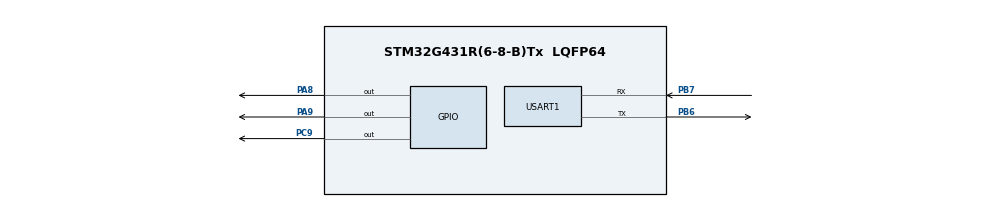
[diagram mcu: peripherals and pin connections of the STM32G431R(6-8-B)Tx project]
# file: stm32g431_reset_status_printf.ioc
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Mcu.Family=STM32G4
Mcu.Name=STM32G431R(6-8-B)Tx
Mcu.Package=LQFP64
NVIC.PriorityGroup=NVIC_PRIORITYGROUP_4
PA13.Mode=Trace_Asynchronous_SW
PA13.Signal=SYS_JTMS-SWDIO
PA14.Mode=Trace_Asynchronous_SW
PA14.Signal=SYS_JTCK-SWCLK
PA8.Signal=GPIO_Output
PA9.Signal=GPIO_Output
PB3.Mode=Trace_Asynchronous_SW
PB3.Signal=SYS_JTDO-SWO
PB6.Mode=Asynchronous
PB6.Signal=USART1_TX
PB7.Mode=Asynchronous
PB7.Signal=USART1_RX
PC9.Signal=GPIO_Output
PF0-OSC_IN.Mode=HSE-External-Oscillator
PF0-OSC_IN.Signal=RCC_OSC_IN
PF1-OSC_OUT.Mode=HSE-External-Oscillator
PF1-OSC_OUT.Signal=RCC_OSC_OUT
ProjectManager.HeapSize=0x200
ProjectManager.StackSize=0x400
ProjectManager.TargetToolchain=MDK-ARM V5
RCC.ADC12Freq_Value=170000000
RCC.AHBFreq_Value=170000000
RCC.APB1Freq_Value=170000000
RCC.APB1TimFreq_Value=170000000
RCC.APB2Freq_Value=170000000
RCC.APB2TimFreq_Value=170000000
RCC.CortexFreq_Value=170000000
RCC.EXTERNAL_CLOCK_VALUE=12288000
RCC.HCLKFreq_Value=170000000
RCC.HSE_VALUE=8000000
RCC.HSI48_VALUE=48000000
RCC.HSI_VALUE=16000000
RCC.LSE_VALUE=32768
RCC.PLLM=RCC_PLLM_DIV2
RCC.PLLN=85
RCC.PLLSourceVirtual=RCC_PLLSOURCE_HSE
RCC.SYSCLKFreq_VALUE=170000000
RCC.SYSCLKSource=RCC_SYSCLKSOURCE_PLLCLK
RCC.USBFreq_Value=170000000
RCC.VCOOutputFreq_Value=340000000
USART1.VirtualMode-Asynchronous=VM_ASYNC
VP_SYS_VS_DBSignals.Mode=DisableDeadBatterySignals
board=custom

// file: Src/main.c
/* USER CODE BEGIN Header */
/**
  ******************************************************************************
  * @file           : main.c
  * @brief          : Main program body
  ******************************************************************************
  * @attention
  *
  * <h2><center>&copy; Copyright (c) 2020 STMicroelectronics.
  * All rights reserved.</center></h2>
  *
  * This software component is licensed by ST under BSD 3-Clause license,
  * the "License"; You may not use this file except in compliance with the
  * License. You may obtain a copy of the License at:
  *                        opensource.org/licenses/BSD-3-Clause
  *
  ******************************************************************************
  */
/* USER CODE END Header */

#include "main.h"
#include "usart.h"
#include "gpio.h"

/* USER CODE BEGIN Includes */
#include <stdio.h>
/* USER CODE END Includes */

void SystemClock_Config(void);

/* USER CODE BEGIN 0 */
#define PUTCHAR_PROTOTYPE int fputc(int ch, FILE *f)
PUTCHAR_PROTOTYPE
{
  /* Place your implementation of fputc here */
  /* e.g. write a character to the USART1 and Loop until the end of transmission */
	while (!LL_USART_IsActiveFlag_TXE(USART1)){};

	LL_USART_TransmitData8(USART1, (char)ch);

  return ch;
}

void Print_ResetStatus(void)
{
	if(LL_RCC_IsActiveFlag_LPWRRST() != 0x00u)
		printf("*** Reset Request Flag :  LPWRRST\r\n");

	if(LL_RCC_IsActiveFlag_WWDGRST() != 0x00u)
		printf("*** Reset Request Flag :  WWDGRST\r\n");

	if (LL_RCC_IsActiveFlag_IWDGRST() != 0x00u)
		printf("*** Reset Request Flag :  IWDGRST\r\n");

	if(LL_RCC_IsActiveFlag_SFTRST() != 0x00u)
		printf("*** Reset Request Flag :  SFTRST\r\n");

	if(LL_RCC_IsActiveFlag_LPWRRST() != 0x00u)
		printf("*** Reset Request Flag :  LPWRRST\r\n");

	if(LL_RCC_IsActiveFlag_BORRST() != 0x00u)
		printf("*** Reset Request Flag :  BORRST\r\n");

	if(LL_RCC_IsActiveFlag_PINRST() != 0x00u)
		printf("*** Reset Request Flag :  PINRST\r\n");

	if(LL_RCC_IsActiveFlag_OBLRST() != 0x00u)
		printf("*** Reset Request Flag :  OBLRST\r\n");
}
/* USER CODE END 0 */

int main(void)
{

  /* MCU Configuration--------------------------------------------------------*/

  /* Reset of all peripherals, Initializes the Flash interface and the Systick. */

  LL_APB2_GRP1_EnableClock(LL_APB2_GRP1_PERIPH_SYSCFG);
  LL_APB1_GRP1_EnableClock(LL_APB1_GRP1_PERIPH_PWR);

  NVIC_SetPriorityGrouping(NVIC_PRIORITYGROUP_4);

  /* System interrupt init*/

  /** Disable the internal Pull-Up in Dead Battery pins of UCPD peripheral
  */
  LL_PWR_DisableDeadBatteryPD();

  /* Configure the system clock */
  SystemClock_Config();

  /* Initialize all configured peripherals */
  MX_GPIO_Init();
  MX_USART1_UART_Init();
  /* USER CODE BEGIN 2 */
	while ((!(LL_USART_IsActiveFlag_TEACK(USART1))) || (!(LL_USART_IsActiveFlag_REACK(USART1))))
  {
  }
	LL_mDelay(1000);
	printf("\r\n");
	printf("\r\n");
	printf("\r\n");
	printf("******** System start ********\r\n");

//__HAL_RCC_CLEAR_RESET_FLAGS();
	LL_GPIO_SetOutputPin(GPIOC, LL_GPIO_PIN_9);	/*blue*/
	LL_GPIO_SetOutputPin(GPIOA, LL_GPIO_PIN_8);	/*green*/
	LL_GPIO_SetOutputPin(GPIOA, LL_GPIO_PIN_9);  /*red*/
  /* USER CODE END 2 */

  /* Infinite loop */
  /* USER CODE BEGIN WHILE */
	int i=0;
  while (1)
  {
		Print_ResetStatus();
		printf("** Running : %d sec\r\n", i++);

		LL_GPIO_TogglePin(GPIOC, LL_GPIO_PIN_9);
		LL_mDelay(333);
		LL_GPIO_TogglePin(GPIOA, LL_GPIO_PIN_8);
		LL_mDelay(333);
		LL_GPIO_TogglePin(GPIOA, LL_GPIO_PIN_9);
		LL_mDelay(333);

		//*(volatile long *)0xFEFEFEFE = 1; //Hard Fault Trigger
		//__NVIC_SystemReset();	//software reset Trigger
    /* USER CODE END WHILE */

  }
}

void SystemClock_Config(void)
{
  LL_FLASH_SetLatency(LL_FLASH_LATENCY_8);
  LL_PWR_EnableRange1BoostMode();
  LL_RCC_HSE_Enable();

   /* Wait till HSE is ready */
  while(LL_RCC_HSE_IsReady() != 1)
  {

  }
  LL_RCC_PLL_ConfigDomain_SYS(LL_RCC_PLLSOURCE_HSE, LL_RCC_PLLM_DIV_2, 85, LL_RCC_PLLR_DIV_2);
  LL_RCC_PLL_EnableDomain_SYS();
  LL_RCC_PLL_Enable();

   /* Wait till PLL is ready */
  while(LL_RCC_PLL_IsReady() != 1)
  {

  }
  LL_RCC_SetSysClkSource(LL_RCC_SYS_CLKSOURCE_PLL);
  LL_RCC_SetAHBPrescaler(LL_RCC_SYSCLK_DIV_2);

   /* Wait till System clock is ready */
  while(LL_RCC_GetSysClkSource() != LL_RCC_SYS_CLKSOURCE_STATUS_PLL)
  {

  }
  /* Insure 1?s transition state at intermediate medium speed clock based on DWT */
  CoreDebug->DEMCR |= CoreDebug_DEMCR_TRCENA_Msk;
  DWT->CTRL |= DWT_CTRL_CYCCNTENA_Msk;
  DWT->CYCCNT = 0;
  while(DWT->CYCCNT < 100);
  /* Set AHB prescaler*/
  LL_RCC_SetAHBPrescaler(LL_RCC_SYSCLK_DIV_1);
  LL_RCC_SetAPB1Prescaler(LL_RCC_APB1_DIV_1);
  LL_RCC_SetAPB2Prescaler(LL_RCC_APB1_DIV_1);

  LL_Init1msTick(170000000);

  LL_SYSTICK_SetClkSource(LL_SYSTICK_CLKSOURCE_HCLK);
  LL_SetSystemCoreClock(170000000);
  LL_RCC_SetUSARTClockSource(LL_RCC_USART1_CLKSOURCE_PCLK2);
}

void Error_Handler(void)
{
  /* USER CODE BEGIN Error_Handler_Debug */
  /* User can add his own implementation to report the HAL error return state */
	LL_GPIO_ResetOutputPin(GPIOC, LL_GPIO_PIN_9);	/*blue*/
	LL_GPIO_SetOutputPin(GPIOA, LL_GPIO_PIN_8);	/*green*/
	LL_GPIO_SetOutputPin(GPIOA, LL_GPIO_PIN_9);  /*red*/
	printf("*** Call Error Handler!!!\r\n");
	while(1);
  /* USER CODE END Error_Handler_Debug */
}

/************************ (C) COPYRIGHT STMicroelectronics *****END OF FILE****/
